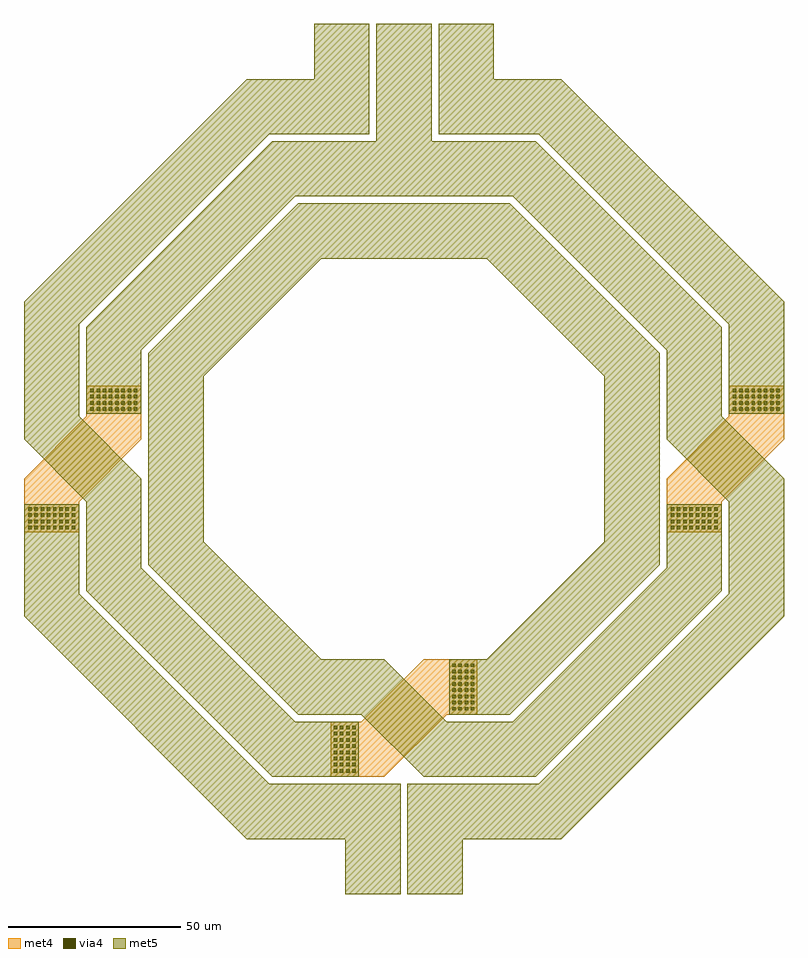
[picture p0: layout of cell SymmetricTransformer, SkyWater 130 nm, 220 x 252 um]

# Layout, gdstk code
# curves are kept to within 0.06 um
import gdstk
lib = gdstk.Library(unit=1e-6, precision=1e-09)
def R(c, l, rs):  # rectangles x0, y0, x1, y1
    for r in rs: c.add(gdstk.rectangle(r[:2], r[2:], *l))
def A(c, l, x, y, w, h, nx, ny, dx, dy):  # array of equal rectangles
    R(c, l, [(x+i*dx, y+j*dy, x+i*dx+w, y+j*dy+h) for i in range(nx) for j in range(ny)])
def P(c, l, *ps):  # polygons
    for p in ps: c.add(gdstk.Polygon(p, *l))
met4 = (71, 20)
via4 = (71, 44)
met5 = (72, 20)

symmetrictransformer = lib.new_cell('SymmetricTransformer')
P(symmetrictransformer, met4, [(-110.001,-5.687),(-110.001,-13.143),(-110.001,-21.143),(-94,-21.143),(-94,-13.143),(-94,-12.315),(-75.999,5.687),(-75.999,13.143),(-75.999,21.143),(-92,21.143),(-92,13.143),(-92,12.315)],
  [(-21.143,-76),(-21.143,-92.001),(-13.143,-92.001),(-5.687,-92.001),(12.315,-74),(13.143,-74),(21.143,-74),(21.143,-57.999),(13.143,-57.999),(5.687,-57.999),(-12.315,-76),(-13.143,-76)],
  [(75.999,-5.687),(75.999,-13.143),(75.999,-21.143),(92,-21.143),(92,-13.143),(92,-12.315),(110.001,5.687),(110.001,13.143),(110.001,21.143),(94,21.143),(94,13.143),(94,12.315)])
A(symmetrictransformer, via4, -20.343, -90.801, 1.002, 1.002, 4, 8, 1.8, 1.8)
A(symmetrictransformer, via4, 13.941, -72.801, 1.002, 1.002, 4, 8, 1.8, 1.8)
A(symmetrictransformer, via4, -108.801, -20.343, 1.002, 1.002, 8, 4, 1.8, 1.8)
A(symmetrictransformer, via4, 77.199, -20.343, 1.002, 1.002, 8, 4, 1.8, 1.8)
A(symmetrictransformer, via4, -90.801, 13.941, 1.002, 1.002, 8, 4, 1.8, 1.8)
A(symmetrictransformer, via4, 95.199, 13.941, 1.002, 1.002, 8, 4, 1.8, 1.8)
P(symmetrictransformer, met5, [(-110.001,5.687),(-92,-12.315),(-92.001,-38.107),(-38.107,-92.001),(-13.141,-92.001),(-13.141,-76),(-31.48,-76.001),(-76.001,-31.48),(-75.999,-5.687),(-94,12.315),(-94.001,38.935),(-38.935,94.001),(-10,93.999),(-10,126.001),(-26.001,126.001),(-26.001,110.001),(-45.563,110.001),(-110.001,45.563)],
  [(-110.001,-45.563),(-45.563,-110.001),(-17.001,-110.001),(-17,-126.001),(-0.999,-126.001),(-0.999,-93.999),(-13.142,-93.999),(-13.142,-94),(-38.935,-94.001),(-94.001,-38.935),(-94,-13.141),(-110.001,-13.141)],
  [(-92.001,38.107),(-92.001,13.141),(-76,13.141),(-76.001,31.48),(-31.48,76.001),(31.48,76.001),(76.001,31.48),(75.999,5.687),(94,-12.315),(94.001,-38.935),(38.935,-94.001),(0.999,-93.999),(0.999,-126.001),(17,-126.001),(17.001,-110.001),(45.563,-110.001),(110.001,-45.563),(110.001,-5.687),(92,12.315),(92.001,38.107),(38.107,92.001),(8.001,92.001),(8,126.001),(-8,126.001),(-8.001,92.001),(-38.107,92.001)],
  [(-74.001,-30.651),(-30.651,-74.001),(-12.315,-74),(5.687,-92.001),(38.107,-92.001),(92.001,-38.107),(92.001,-13.141),(76,-13.141),(76.001,-31.48),(31.48,-76.001),(12.315,-76),(-5.687,-57.999),(-24.024,-58.001),(-58.001,-24.024),(-58.001,24.024),(-24.024,58.001),(24.024,58.001),(58.001,24.024),(58.001,-24.024),(24.024,-58.001),(13.141,-58),(13.141,-74.001),(30.651,-74.001),(74.001,-30.651),(74.001,30.651),(30.651,74.001),(-30.651,74.001),(-74.001,30.651)],
  [(10,93.999),(13.142,93.999),(13.142,94),(38.935,94.001),(94.001,38.935),(94,13.141),(110.001,13.141),(110.001,45.563),(45.563,110.001),(26.001,110.001),(26.001,126.001),(10,126.001)])

lib.write_gds('SymmetricTransformer.gds')
